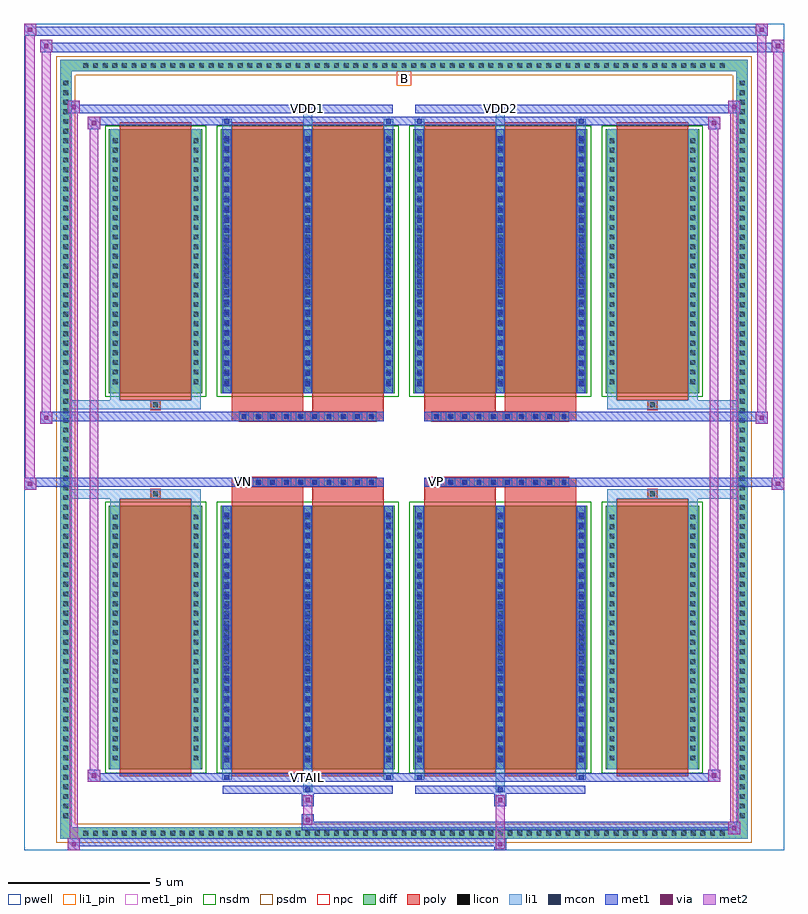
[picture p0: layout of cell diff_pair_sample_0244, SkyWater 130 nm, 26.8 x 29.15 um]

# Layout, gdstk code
import gdstk
lib = gdstk.Library(unit=1e-6, precision=5e-09)
def R(c, l, rs):  # rectangles x0, y0, x1, y1
    for r in rs: c.add(gdstk.rectangle(r[:2], r[2:], *l))
def A(c, l, x, y, w, h, nx, ny, dx, dy):  # array of equal rectangles
    R(c, l, [(x+i*dx, y+j*dy, x+i*dx+w, y+j*dy+h) for i in range(nx) for j in range(ny)])
def P(c, l, *ps):  # polygons
    for p in ps: c.add(gdstk.Polygon(p, *l))
pwell = (64, 44)
diff = (65, 20)
poly = (66, 20)
licon = (66, 44)
li1_pin = (67, 16)
li1 = (67, 20)
mcon = (67, 44)
met1_pin = (68, 16)
met1 = (68, 20)
via = (68, 44)
met2 = (69, 20)
nsdm = (93, 44)
psdm = (94, 20)
npc = (95, 20)

diff_pair_sample_0244 = lib.new_cell('diff_pair_sample_0244')
R(diff_pair_sample_0244, pwell, [(-13.4,-14.14,13.4,15.01), (-10.72,-12.33,-0.01,-0.795), (0.01,-12.33,10.72,-0.795), (-10.72,0.795,-0.01,12.33), (0.01,0.795,10.72,12.33)])
A(diff_pair_sample_0244, diff, -11.425, -13.74, 0.41, 0.41, 67, 2, 0.34, 27.07)
A(diff_pair_sample_0244, diff, -12.13, -13.125, 0.41, 0.41, 1, 77, 0, 0.34)
A(diff_pair_sample_0244, diff, 11.72, -13.125, 0.41, 0.41, 1, 77, 0, 0.34)
R(diff_pair_sample_0244, diff, [(-11.425,-13.74,11.425,-13.33), (-12.13,-13.125,-11.72,13.125), (11.72,-13.125,12.13,13.125), (-10.41,-11.285,-7.11,-1.985), (-6.47,-11.285,-0.32,-1.985), (0.32,-11.285,6.47,-1.985), (7.11,-11.285,10.41,-1.985), (-10.41,1.985,-7.11,11.285), (-6.47,1.985,-0.32,11.285), (0.32,1.985,6.47,11.285), (7.11,1.985,10.41,11.285), (-11.425,13.33,11.425,13.74)])
P(diff_pair_sample_0244, diff, [(12.13,13.74),(-12.13,13.74),(-12.13,-13.33),(-11.72,-13.33),(-11.72,13.33),(11.72,13.33),(11.72,-13.33),(-11.72,-13.33),(-12.13,-13.33),(-12.13,-13.74),(12.13,-13.74)])
A(diff_pair_sample_0244, poly, -5.81, -1.325, 0.33, 0.33, 10, 2, 0.5, 2.32)
A(diff_pair_sample_0244, poly, 0.98, -1.325, 0.33, 0.33, 10, 2, 0.5, 2.32)
R(diff_pair_sample_0244, poly, [(-10.02,-11.535,-7.5,-1.735), (-6.08,-11.535,-3.56,-1.735), (-3.23,-11.535,-0.71,-1.735), (0.71,-11.535,3.23,-1.735), (3.56,-11.535,6.08,-1.735), (7.5,-11.535,10.02,-1.735), (-8.925,-1.735,-8.595,-1.405), (-8.925,-1.735,-8.595,-1.405), (-6.08,-1.735,-3.56,-1.325), (-3.23,-1.735,-0.71,-1.325), (0.71,-1.735,3.23,-1.325), (3.56,-1.735,6.08,-1.325), (8.595,-1.735,8.925,-1.405), (8.595,-1.735,8.925,-1.405), (-6.08,-1.325,-0.71,-0.995), (0.71,-1.325,6.08,-0.995), (-6.08,0.995,-0.71,1.325), (0.71,0.995,6.08,1.325), (-6.08,1.325,-3.56,1.735), (-3.23,1.325,-0.71,1.735), (0.71,1.325,3.23,1.735), (3.56,1.325,6.08,1.735), (-8.925,1.405,-8.595,1.735), (-8.925,1.405,-8.595,1.735), (8.595,1.405,8.925,1.735), (8.595,1.405,8.925,1.735), (-10.02,1.735,-7.5,11.535), (-6.08,1.735,-3.56,11.535), (-3.23,1.735,-0.71,11.535), (0.71,1.735,3.23,11.535), (3.56,1.735,6.08,11.535), (7.5,1.735,10.02,11.535)])
A(diff_pair_sample_0244, licon, -11.305, -13.62, 0.17, 0.17, 67, 2, 0.34, 27.07)
A(diff_pair_sample_0244, licon, -12.01, -13.005, 0.17, 0.17, 1, 77, 0, 0.34)
A(diff_pair_sample_0244, licon, 11.84, -13.005, 0.17, 0.17, 1, 77, 0, 0.34)
A(diff_pair_sample_0244, licon, -10.27, -10.97, 0.17, 0.17, 1, 26, 0, 0.34)
A(diff_pair_sample_0244, licon, -7.42, -10.97, 0.17, 0.17, 1, 26, 0, 0.34)
A(diff_pair_sample_0244, licon, -6.33, -10.97, 0.17, 0.17, 3, 26, 2.85, 0.34)
A(diff_pair_sample_0244, licon, 0.46, -10.97, 0.17, 0.17, 3, 26, 2.85, 0.34)
A(diff_pair_sample_0244, licon, 7.25, -10.97, 0.17, 0.17, 1, 26, 0, 0.34)
A(diff_pair_sample_0244, licon, 10.1, -10.97, 0.17, 0.17, 1, 26, 0, 0.34)
A(diff_pair_sample_0244, licon, -5.73, -1.245, 0.17, 0.17, 10, 2, 0.5, 2.32)
A(diff_pair_sample_0244, licon, 1.06, -1.245, 0.17, 0.17, 10, 2, 0.5, 2.32)
A(diff_pair_sample_0244, licon, -10.27, 2.3, 0.17, 0.17, 1, 26, 0, 0.34)
A(diff_pair_sample_0244, licon, -7.42, 2.3, 0.17, 0.17, 1, 26, 0, 0.34)
A(diff_pair_sample_0244, licon, -6.33, 2.3, 0.17, 0.17, 3, 26, 2.85, 0.34)
A(diff_pair_sample_0244, licon, 0.46, 2.3, 0.17, 0.17, 3, 26, 2.85, 0.34)
A(diff_pair_sample_0244, licon, 7.25, 2.3, 0.17, 0.17, 1, 26, 0, 0.34)
A(diff_pair_sample_0244, licon, 10.1, 2.3, 0.17, 0.17, 1, 26, 0, 0.34)
R(diff_pair_sample_0244, licon, [(-8.845,-1.655,-8.675,-1.485), (8.675,-1.655,8.845,-1.485), (-8.845,1.485,-8.675,1.655), (8.675,1.485,8.845,1.655)])
R(diff_pair_sample_0244, li1_pin, [(-0.25,12.83,0.25,13.33)])
A(diff_pair_sample_0244, li1, -11.385, -13.7, 0.33, 0.33, 67, 2, 0.34, 27.07)
A(diff_pair_sample_0244, li1, -12.09, -13.085, 0.33, 0.33, 1, 77, 0, 0.34)
A(diff_pair_sample_0244, li1, 11.76, -13.085, 0.33, 0.33, 1, 77, 0, 0.34)
A(diff_pair_sample_0244, li1, -6.41, -11.285, 0.33, 9.3, 3, 2, 2.85, 13.27)
A(diff_pair_sample_0244, li1, 0.38, -11.285, 0.33, 9.3, 3, 2, 2.85, 13.27)
A(diff_pair_sample_0244, li1, -10.35, -11.05, 0.33, 0.33, 1, 26, 0, 0.34)
A(diff_pair_sample_0244, li1, -7.5, -11.05, 0.33, 0.33, 1, 26, 0, 0.34)
A(diff_pair_sample_0244, li1, -6.41, -11.05, 0.33, 0.33, 3, 26, 2.85, 0.34)
A(diff_pair_sample_0244, li1, 0.38, -11.05, 0.33, 0.33, 3, 26, 2.85, 0.34)
A(diff_pair_sample_0244, li1, 7.17, -11.05, 0.33, 0.33, 1, 26, 0, 0.34)
A(diff_pair_sample_0244, li1, 10.02, -11.05, 0.33, 0.33, 1, 26, 0, 0.34)
A(diff_pair_sample_0244, li1, -6.33, -11.04, 0.17, 0.17, 3, 25, 2.85, 0.36)
A(diff_pair_sample_0244, li1, -6.33, -11.04, 0.17, 8.81, 3, 2, 2.85, 13.27)
A(diff_pair_sample_0244, li1, 0.46, -11.04, 0.17, 0.17, 3, 25, 2.85, 0.36)
A(diff_pair_sample_0244, li1, 0.46, -11.04, 0.17, 8.81, 3, 2, 2.85, 13.27)
A(diff_pair_sample_0244, li1, -5.81, -1.325, 0.33, 0.33, 10, 2, 0.5, 2.32)
A(diff_pair_sample_0244, li1, 0.98, -1.325, 0.33, 0.33, 10, 2, 0.5, 2.32)
A(diff_pair_sample_0244, li1, -10.35, 2.22, 0.33, 0.33, 1, 26, 0, 0.34)
A(diff_pair_sample_0244, li1, -7.5, 2.22, 0.33, 0.33, 1, 26, 0, 0.34)
A(diff_pair_sample_0244, li1, -6.41, 2.22, 0.33, 0.33, 3, 26, 2.85, 0.34)
A(diff_pair_sample_0244, li1, 0.38, 2.22, 0.33, 0.33, 3, 26, 2.85, 0.34)
A(diff_pair_sample_0244, li1, 7.17, 2.22, 0.33, 0.33, 1, 26, 0, 0.34)
A(diff_pair_sample_0244, li1, 10.02, 2.22, 0.33, 0.33, 1, 26, 0, 0.34)
A(diff_pair_sample_0244, li1, -6.33, 2.23, 0.17, 0.17, 3, 25, 2.85, 0.36)
A(diff_pair_sample_0244, li1, 0.46, 2.23, 0.17, 0.17, 3, 25, 2.85, 0.36)
R(diff_pair_sample_0244, li1, [(-12.13,-13.74,-11.72,-13.33), (-12.13,-13.74,-11.72,-13.33), (-11.72,-13.74,11.72,-13.33), (11.72,-13.74,12.13,-13.33), (11.72,-13.74,12.13,-13.33), (-12.13,-13.33,-11.72,13.33), (11.72,-13.33,12.13,13.33), (-3.56,-12.09,-3.23,-11.285), (-3.48,-12.09,-3.31,-11.92), (3.23,-12.09,3.56,-11.285), (3.31,-12.09,3.48,-11.92), (-6.41,-11.66,-6.08,-11.285), (-6.33,-11.66,-6.16,-11.49), (-0.71,-11.66,-0.38,-11.285), (-0.63,-11.66,-0.46,-11.49), (0.38,-11.66,0.71,-11.285), (0.46,-11.66,0.63,-11.49), (6.08,-11.66,6.41,-11.285), (6.16,-11.66,6.33,-11.49), (-10.35,-11.285,-10.02,-1.985), (-7.5,-11.285,-7.17,-1.985), (7.17,-11.285,7.5,-1.985), (10.02,-11.285,10.35,-1.985), (-10.35,-1.985,-10.02,-1.405), (-7.5,-1.985,-7.17,-1.405), (7.17,-1.985,7.5,-1.405), (10.02,-1.985,10.35,-1.405), (-12.13,-1.735,-8.925,-1.405), (-10.35,-1.735,-8.925,-1.405), (-8.925,-1.735,-8.595,-1.405), (-8.595,-1.735,-7.17,-1.405), (7.17,-1.735,8.595,-1.405), (8.595,-1.735,8.925,-1.405), (8.595,-1.735,12.13,-1.405), (8.925,-1.735,10.35,-1.405), (-12.13,1.405,-8.925,1.735), (-10.35,1.405,-8.925,1.735), (-10.35,1.405,-10.02,1.985), (-8.925,1.405,-8.595,1.735), (-8.595,1.405,-7.17,1.735), (-7.5,1.405,-7.17,1.985), (7.17,1.405,8.595,1.735), (7.17,1.405,7.5,1.985), (8.595,1.405,8.925,1.735), (8.595,1.405,12.13,1.735), (8.925,1.405,10.35,1.735), (10.02,1.405,10.35,1.985), (-10.35,1.985,-10.02,11.285), (-7.5,1.985,-7.17,11.285), (7.17,1.985,7.5,11.285), (10.02,1.985,10.35,11.285), (-6.41,11.285,-6.08,11.66), (-3.56,11.285,-3.23,12.09), (-0.71,11.285,-0.38,11.66), (0.38,11.285,0.71,11.66), (3.23,11.285,3.56,12.09), (6.08,11.285,6.41,11.66), (-6.33,11.49,-6.16,11.66), (-0.63,11.49,-0.46,11.66), (0.46,11.49,0.63,11.66), (6.16,11.49,6.33,11.66), (-3.48,11.92,-3.31,12.09), (3.31,11.92,3.48,12.09), (-12.13,13.33,-11.72,13.74), (-12.13,13.33,-11.72,13.74), (-11.72,13.33,11.72,13.74), (11.72,13.33,12.13,13.74), (11.72,13.33,12.13,13.74)])
A(diff_pair_sample_0244, mcon, -6.33, -11.04, 0.17, 0.17, 3, 25, 2.85, 0.36)
A(diff_pair_sample_0244, mcon, 0.46, -11.04, 0.17, 0.17, 3, 25, 2.85, 0.36)
A(diff_pair_sample_0244, mcon, -5.73, -1.245, 0.17, 0.17, 10, 2, 0.5, 2.32)
A(diff_pair_sample_0244, mcon, 1.06, -1.245, 0.17, 0.17, 10, 2, 0.5, 2.32)
A(diff_pair_sample_0244, mcon, -6.33, 2.23, 0.17, 0.17, 3, 25, 2.85, 0.36)
A(diff_pair_sample_0244, mcon, 0.46, 2.23, 0.17, 0.17, 3, 25, 2.85, 0.36)
R(diff_pair_sample_0244, mcon, [(-3.48,-12.09,-3.31,-11.92), (3.31,-12.09,3.48,-11.92), (-6.33,-11.66,-6.16,-11.49), (-0.63,-11.66,-0.46,-11.49), (0.46,-11.66,0.63,-11.49), (6.16,-11.66,6.33,-11.49), (-6.33,11.49,-6.16,11.66), (-0.63,11.49,-0.46,11.66), (0.46,11.49,0.63,11.66), (6.16,11.49,6.33,11.66), (-3.48,11.92,-3.31,12.09), (3.31,11.92,3.48,12.09)])
R(diff_pair_sample_0244, met1_pin, [(-3.53,-11.7,-3.26,-11.43), (-5.78,-1.285,-5.51,-1.015), (1.01,-1.285,1.28,-1.015), (-3.53,11.88,-3.26,12.15), (3.26,11.88,3.53,12.15)])
A(diff_pair_sample_0244, met1, -6.39, -11.285, 0.29, 9.3, 3, 2, 2.85, 13.27)
A(diff_pair_sample_0244, met1, 0.4, -11.285, 0.29, 9.3, 3, 2, 2.85, 13.27)
A(diff_pair_sample_0244, met1, -6.39, -11.1, 0.29, 0.29, 3, 25, 2.85, 0.36)
A(diff_pair_sample_0244, met1, 0.4, -11.1, 0.29, 0.29, 3, 25, 2.85, 0.36)
A(diff_pair_sample_0244, met1, -5.79, -1.305, 0.29, 0.29, 10, 2, 0.5, 2.32)
A(diff_pair_sample_0244, met1, 1, -1.305, 0.29, 0.29, 10, 2, 0.5, 2.32)
A(diff_pair_sample_0244, met1, -6.39, 2.17, 0.29, 0.29, 3, 25, 2.85, 0.36)
A(diff_pair_sample_0244, met1, 0.4, 2.17, 0.29, 0.29, 3, 25, 2.85, 0.36)
R(diff_pair_sample_0244, met1, [(-11.86,-14.14,-11.43,-13.71), (3.18,-14.14,3.61,-13.71), (-11.86,-14,3.61,-13.71), (11.43,-13.57,11.86,-13.14), (-3.61,-13.43,11.86,-13.14), (-3.61,-13.29,-3.18,-12.86), (-3.61,-12.58,-3.18,-12.15), (3.18,-12.58,3.61,-12.15), (-6.39,-12.15,-0.4,-11.86), (-3.54,-12.15,-3.25,-11.86), (0.4,-12.15,6.39,-11.86), (3.25,-12.15,3.54,-11.86), (-11.15,-11.72,-10.72,-11.29), (-11.15,-11.72,-6.39,-11.43), (-6.39,-11.72,-6.1,-11.43), (-6.39,-11.72,-0.4,-11.43), (-0.69,-11.72,-0.4,-11.43), (-0.4,-11.72,0.4,-11.43), (0.4,-11.72,0.69,-11.43), (0.4,-11.72,6.39,-11.43), (6.1,-11.72,6.39,-11.43), (6.39,-11.72,11.15,-11.43), (10.72,-11.72,11.15,-11.29), (-13.4,-1.425,-12.97,-0.995), (12.97,-1.425,13.4,-0.995), (-13.4,-1.325,-0.71,-0.995), (-6.08,-1.325,-0.71,-0.995), (0.71,-1.325,6.08,-0.995), (0.71,-1.325,13.4,-0.995), (-12.83,0.895,-12.4,1.325), (12.4,0.895,12.83,1.325), (-12.83,0.995,-6.08,1.325), (-6.08,0.995,-0.71,1.325), (0.71,0.995,6.08,1.325), (6.08,0.995,12.83,1.325), (-11.15,11.29,-10.72,11.72), (10.72,11.29,11.15,11.72), (-11.15,11.43,-6.39,11.72), (-6.39,11.43,-6.1,11.72), (-6.39,11.43,-0.4,11.72), (-0.69,11.43,-0.4,11.72), (-0.4,11.43,0.4,11.72), (0.4,11.43,0.69,11.72), (0.4,11.43,6.39,11.72), (6.1,11.43,6.39,11.72), (6.39,11.43,11.15,11.72), (-11.86,11.86,-11.43,12.29), (-11.86,11.86,-6.39,12.15), (-6.39,11.86,-0.4,12.15), (-3.54,11.86,-3.25,12.15), (0.4,11.86,6.39,12.15), (3.25,11.86,3.54,12.15), (6.39,11.86,11.86,12.15), (11.43,11.86,11.86,12.29), (-12.83,14.01,-12.4,14.44), (-12.83,14.01,-10.72,14.34), (-10.72,14.01,10.72,14.34), (10.72,14.01,13.4,14.34), (12.97,14.01,13.4,14.44), (-13.4,14.58,-12.97,15.01), (-13.4,14.58,-10.72,14.91), (-10.72,14.58,10.72,14.91), (10.72,14.58,12.83,14.91), (12.4,14.58,12.83,15.01)])
R(diff_pair_sample_0244, via, [(-11.72,-14,-11.57,-13.85), (3.32,-14,3.47,-13.85), (11.57,-13.43,11.72,-13.28), (-3.47,-13.15,-3.32,-13), (-3.47,-12.44,-3.32,-12.29), (3.32,-12.44,3.47,-12.29), (-11.01,-11.58,-10.86,-11.43), (10.86,-11.58,11.01,-11.43), (-13.26,-1.285,-13.11,-1.135), (13.11,-1.285,13.26,-1.135), (-12.69,1.035,-12.54,1.185), (12.54,1.035,12.69,1.185), (-11.01,11.43,-10.86,11.58), (10.86,11.43,11.01,11.58), (-11.72,12,-11.57,12.15), (11.57,12,11.72,12.15), (-12.69,14.15,-12.54,14.3), (13.11,14.15,13.26,14.3), (-13.26,14.72,-13.11,14.87), (12.54,14.72,12.69,14.87)])
R(diff_pair_sample_0244, met2, [(-11.86,-14.14,-11.43,-13.71), (-11.79,-14.14,-11.5,12.29), (-11.5,-14.14,-11.43,-13.71), (-11.81,-14.09,-11.48,-13.76), (3.23,-14.09,3.56,-13.76), (3.23,-13.76,3.56,-12.53), (11.43,-13.57,11.86,-13.14), (11.5,-13.57,11.79,12.29), (11.79,-13.57,11.86,-13.14), (11.48,-13.52,11.81,-13.19), (-3.56,-13.24,-3.23,-12.91), (-3.56,-12.91,-3.23,-12.53), (-3.56,-12.53,-3.23,-12.2), (3.23,-12.53,3.56,-12.2), (-11.15,-11.72,-10.72,-11.29), (-11.08,-11.72,-10.79,11.72), (-10.79,-11.72,-10.72,-11.29), (10.72,-11.72,11.15,-11.29), (10.79,-11.72,11.08,11.72), (11.08,-11.72,11.15,-11.29), (-11.1,-11.67,-10.77,-11.34), (10.77,-11.67,11.1,-11.34), (-13.4,-1.425,-12.97,-0.995), (-13.35,-1.425,-13.02,15.01), (-13.02,-1.425,-12.97,-0.995), (12.97,-1.425,13.4,-0.995), (13.02,-1.425,13.35,14.44), (13.35,-1.425,13.4,-0.995), (-13.35,-1.375,-13.02,-1.045), (13.02,-1.375,13.35,-1.045), (-12.83,0.895,-12.4,1.325), (-12.78,0.895,-12.45,14.44), (-12.45,0.895,-12.4,1.325), (12.4,0.895,12.83,1.325), (12.45,0.895,12.78,15.01), (12.78,0.895,12.83,1.325), (-12.78,0.945,-12.45,1.275), (12.45,0.945,12.78,1.275), (-11.15,11.29,-10.72,11.72), (-10.79,11.29,-10.72,11.72), (10.72,11.29,11.15,11.72), (11.08,11.29,11.15,11.72), (-11.1,11.34,-10.77,11.67), (10.77,11.34,11.1,11.67), (-11.86,11.86,-11.43,12.29), (-11.5,11.86,-11.43,12.29), (11.43,11.86,11.86,12.29), (11.79,11.86,11.86,12.29), (-11.81,11.91,-11.48,12.24), (11.48,11.91,11.81,12.24), (-12.83,14.01,-12.4,14.44), (-12.45,14.01,-12.4,14.44), (12.97,14.01,13.4,14.44), (13.35,14.01,13.4,14.44), (-12.78,14.06,-12.45,14.39), (13.02,14.06,13.35,14.39), (-13.4,14.58,-12.97,15.01), (-13.02,14.58,-12.97,15.01), (12.4,14.58,12.83,15.01), (12.78,14.58,12.83,15.01), (-13.35,14.63,-13.02,14.96), (12.45,14.63,12.78,14.96)])
R(diff_pair_sample_0244, nsdm, [(-10.54,-11.415,-6.98,-1.855), (-6.6,-11.415,-0.19,-1.855), (0.19,-11.415,6.6,-1.855), (6.98,-11.415,10.54,-1.855), (-10.54,1.855,-6.98,11.415), (-6.6,1.855,-0.19,11.415), (0.19,1.855,6.6,11.415), (6.98,1.855,10.54,11.415)])
P(diff_pair_sample_0244, psdm, [(12.26,13.87),(-12.26,13.87),(-12.26,-13.2),(-11.59,-13.2),(-11.59,13.2),(11.59,13.2),(11.59,-13.2),(-11.59,-13.2),(-12.26,-13.2),(-12.26,-13.87),(12.26,-13.87)])
A(diff_pair_sample_0244, npc, -5.83, -1.345, 0.37, 0.37, 10, 2, 0.5, 2.32)
A(diff_pair_sample_0244, npc, 0.96, -1.345, 0.37, 0.37, 10, 2, 0.5, 2.32)
R(diff_pair_sample_0244, npc, [(-8.945,-1.755,-8.575,-1.385), (8.575,-1.755,8.945,-1.385), (-5.83,-1.345,-4.96,-0.975), (-5.83,-1.345,-4.96,-0.975), (-5.33,-1.345,-4.46,-0.975), (-5.33,-1.345,-4.46,-0.975), (-4.83,-1.345,-3.96,-0.975), (-4.83,-1.345,-3.96,-0.975), (-4.33,-1.345,-3.46,-0.975), (-4.33,-1.345,-3.46,-0.975), (-3.83,-1.345,-2.96,-0.975), (-3.83,-1.345,-2.96,-0.975), (-3.33,-1.345,-2.46,-0.975), (-3.33,-1.345,-2.46,-0.975), (-2.83,-1.345,-1.96,-0.975), (-2.83,-1.345,-1.96,-0.975), (-2.33,-1.345,-1.46,-0.975), (-2.33,-1.345,-1.46,-0.975), (-1.83,-1.345,-0.96,-0.975), (-1.83,-1.345,-0.96,-0.975), (0.96,-1.345,1.83,-0.975), (0.96,-1.345,1.83,-0.975), (1.46,-1.345,2.33,-0.975), (1.46,-1.345,2.33,-0.975), (1.96,-1.345,2.83,-0.975), (1.96,-1.345,2.83,-0.975), (2.46,-1.345,3.33,-0.975), (2.46,-1.345,3.33,-0.975), (2.96,-1.345,3.83,-0.975), (2.96,-1.345,3.83,-0.975), (3.46,-1.345,4.33,-0.975), (3.46,-1.345,4.33,-0.975), (3.96,-1.345,4.83,-0.975), (3.96,-1.345,4.83,-0.975), (4.46,-1.345,5.33,-0.975), (4.46,-1.345,5.33,-0.975), (4.96,-1.345,5.83,-0.975), (4.96,-1.345,5.83,-0.975), (-5.83,0.975,-4.96,1.345), (-5.83,0.975,-4.96,1.345), (-5.33,0.975,-4.46,1.345), (-5.33,0.975,-4.46,1.345), (-4.83,0.975,-3.96,1.345), (-4.83,0.975,-3.96,1.345), (-4.33,0.975,-3.46,1.345), (-4.33,0.975,-3.46,1.345), (-3.83,0.975,-2.96,1.345), (-3.83,0.975,-2.96,1.345), (-3.33,0.975,-2.46,1.345), (-3.33,0.975,-2.46,1.345), (-2.83,0.975,-1.96,1.345), (-2.83,0.975,-1.96,1.345), (-2.33,0.975,-1.46,1.345), (-2.33,0.975,-1.46,1.345), (-1.83,0.975,-0.96,1.345), (-1.83,0.975,-0.96,1.345), (0.96,0.975,1.83,1.345), (0.96,0.975,1.83,1.345), (1.46,0.975,2.33,1.345), (1.46,0.975,2.33,1.345), (1.96,0.975,2.83,1.345), (1.96,0.975,2.83,1.345), (2.46,0.975,3.33,1.345), (2.46,0.975,3.33,1.345), (2.96,0.975,3.83,1.345), (2.96,0.975,3.83,1.345), (3.46,0.975,4.33,1.345), (3.46,0.975,4.33,1.345), (3.96,0.975,4.83,1.345), (3.96,0.975,4.83,1.345), (4.46,0.975,5.33,1.345), (4.46,0.975,5.33,1.345), (4.96,0.975,5.83,1.345), (4.96,0.975,5.83,1.345), (-8.945,1.385,-8.575,1.755), (8.575,1.385,8.945,1.755)])
diff_pair_sample_0244.add(gdstk.Label('VTAIL', (-3.395,-11.565), layer=68, texttype=5))
diff_pair_sample_0244.add(gdstk.Label('VN', (-5.645,-1.15), layer=68, texttype=5))
diff_pair_sample_0244.add(gdstk.Label('VP', (1.145,-1.15), layer=68, texttype=5))
diff_pair_sample_0244.add(gdstk.Label('B', (0,13.08), layer=67, texttype=5))
diff_pair_sample_0244.add(gdstk.Label('VDD2', (3.395,12.015), layer=68, texttype=5))
diff_pair_sample_0244.add(gdstk.Label('VDD1', (-3.395,12.015), layer=68, texttype=5))

lib.write_gds('diff_pair_sample_0244.gds')
